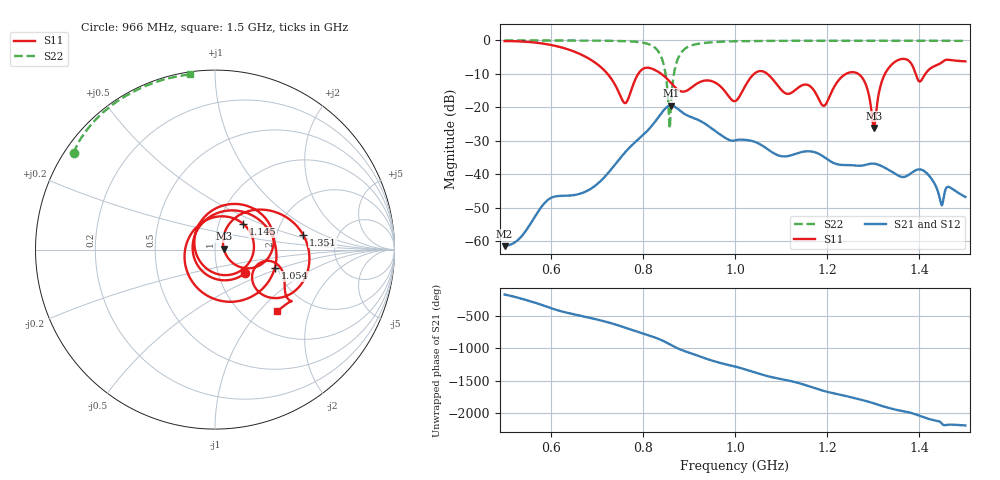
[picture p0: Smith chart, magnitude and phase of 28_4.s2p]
! TOUCHSTONE file generated by CST MICROWAVE STUDIO
! Date and time: Sat Nov 14 20:02:13 2020
! Project name: Scenario_1_Planar_Body_Tissue_Out_of_Line.cst
! Parameters = {dy1=-121.1; L_HA=400; Ltissue=700; MT=2.54; Rad_Dielectric=30; Rad_Lower=7.3; Rad_Upper=30; Wtissue=700; a_HA=580; a_WG=246; b_HA=500; b_WG=121; c_HA=0; c_WG=187; d_feed=85; dx1=693; h_feed=15; h_lower=18; h_upper=40; hfat=3; hgap=25; hmuscle=50; hskin=1.5}
! Header version: 2018
! Port assignment regex: !\s*Touchstone port\s*([0-9]+)\s*=\s*(CST MWS port|CST DS port)\s*([0-9]+|Zmin|Zmax)\s*\(\"(.*)\"\)(\s*mode\s*([0-9]+))?.*
! Touchstone port assignment:
! Touchstone port 1 = CST MWS port 1 ("")
! Touchstone port 2 = CST MWS port 2 ("")
# GHz S DB R 50
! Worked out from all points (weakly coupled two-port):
!   1003 points, 500 MHz to 1.5 GHz, reference 50 ohm
!   highest |S21| = -19.44 dB at 861 MHz (marker M1); lowest = -61.4 dB at 500 MHz (marker M2)
!   lowest |S11| = -26.2 dB at 1.301 GHz (marker M3), VSWR 1.10, Z = 55.1 + j0.556 ohm
!   |S11| at or under -10 dB: 723.5 MHz to 789.9 MHz (66.45 MHz wide, 8.78 % of centre); 840.2 MHz to 1.041 GHz (201.1 MHz wide, 21.4 % of centre); 1.07 GHz to 1.241 GHz (170.5 MHz wide, 14.8 % of centre) (the widest 3 of 5)
!   |S22| runs from -26.3 to 0.0 dB; largest |S21 - S12| = 7.2e-06
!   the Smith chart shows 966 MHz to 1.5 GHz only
!   S11 on the Smith chart (normalised r, x): 966 MHz: 1.34, -0.37; 1.054 GHz: 1.93, -0.45; 1.145 GHz: 1.31, +0.39; 1.351 GHz: 2.82, +0.63; 1.5 GHz: 1.39, -1.26
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0.5  -0.20 -121.6  -61.43 -172.2  -61.43 -172.2  -0.01 151.2
0.59  -1.09 -167.7  -48.08 4.8  -48.08 4.8  -0.02 144.9
0.667  -4.27 139.9  -45.63 -142.0  -45.63 -142.0  -0.04 138.4
0.761  -18.72 -32.1  -33.48 40.6  -33.48 40.6  -0.21 125.3
0.797  -8.82 165.6  -28.69 -44.5  -28.69 -44.5  -0.60 114.1
0.834  -9.43 59.8  -22.89 -134.2  -22.89 -134.2  -3.36 84.2
0.861  -12.68 -23.4  -19.44 131.6  -19.44 131.6  -19.23 -116.4
0.885  -15.27 -115.9  -21.43 52.7  -21.43 52.7  -3.34 -177.9
0.926  -12.30 83.8  -24.14 -50.7  -24.14 -50.7  -0.88 155.6
0.966  -13.43 -38.6  -27.93 -140.8  -27.93 -140.8  -0.42 145.7
1  -18.12 -176.8  -29.84 161.7  -29.84 161.7  -0.26 140.2
1.054  -9.15 -17.0  -30.98 45.5  -30.98 45.5  -0.16 134.0
1.1  -14.68 -154.5  -34.54 -32.4  -34.54 -32.4  -0.12 129.7
1.145  -13.43 42.0  -33.30 -107.8  -33.30 -107.8  -0.10 126.0
1.167  -14.17 -29.2  -33.19 -157.1  -33.19 -157.1  -0.09 124.2
1.202  -17.73 151.3  -35.64 127.9  -35.64 127.9  -0.09 121.5
1.265  -9.79 2.7  -37.39 24.5  -37.39 24.5  -0.08 116.8
1.301  -26.17 5.9  -36.78 -46.1  -36.78 -46.1  -0.08 114.0
1.334  -8.15 32.7  -38.68 -116.8  -38.68 -116.8  -0.09 111.5
1.351  -6.06 9.7  -40.11 -147.3  -40.11 -147.3  -0.09 110.2
1.401  -12.28 -26.5  -38.50 121.0  -38.50 121.0  -0.09 106.3
1.5  -6.25 -44.9  -46.74 -26.1  -46.74 -26.1  -0.13 98.0
